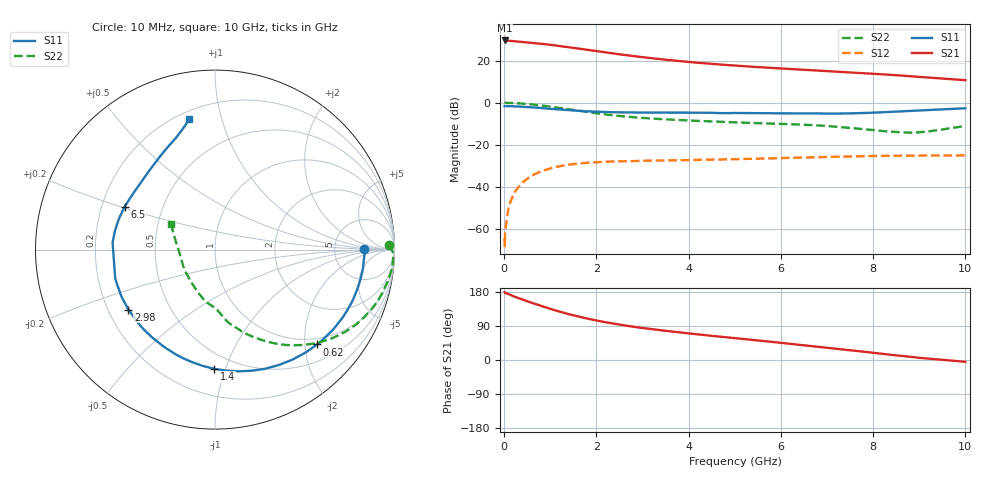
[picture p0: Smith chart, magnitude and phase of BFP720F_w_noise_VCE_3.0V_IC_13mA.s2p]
! Infineon Technologies  Discrete & RF Semiconductors
! BFP720F
! VCE =  3.0 V,  IC =  13 mA
! Common Emitter S-Parameters:  Jan 2016
# GHz  S  MA  R  50
!  f  S11  S21  S12  S22
! GHz  MAG  ANG  MAG  ANG  MAG  ANG  MAG  ANG
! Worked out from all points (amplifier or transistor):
!   233 points, 10 MHz to 10 GHz, reference 50 ohm
!   highest |S21| = 29.5 dB at 10 MHz (marker M1)
!   |S21| within 3 dB of that: start of sweep to 1.33 GHz
!   unconditionally stable (mu >= 1): start of sweep to 15.2 MHz; 6.384 GHz to end of sweep
!   at 200 MHz: K = 0.08, MSG = 36.5 dB, |S12| = -43.7 dB
!   at 1.74 GHz: K = 0.35, MSG = 26.9 dB, |S12| = -28.5 dB
!   at 10 GHz: K = 1.24, MAG = 14.9 dB, |S12| = -24.9 dB
!   lowest NFmin = 0.64 dB at 450 MHz
!   S11 on the Smith chart (normalised r, x): 10 MHz: 11, +0; 620 MHz: 0.85, -2.27; 1.4 GHz: 0.39, -0.92; 2.98 GHz: 0.28, -0.29; 6.5 GHz: 0.30, +0.21; 10 GHz: 0.25, +0.79
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0.01  0.8301 0.1  29.88 178.9  0.0006 -29.0  0.9712 1.4
0.02  0.8341 -1.3  29.58 176.8  0.0008 88.6  0.994 -1.1
0.05  0.8313 -3.6  29.7 176.4  0.0015 94.9  0.9938 -1.9
0.24  0.8211 -16.8  28.5 166.5  0.0079 80.9  0.9798 -10.0
0.44  0.8001 -30.7  27.22 157.5  0.014 73.3  0.9473 -18.1
0.62  0.7763 -42.9  26.15 149.9  0.0191 66.9  0.9083 -25.0
0.8  0.7496 -54.9  25.05 142.5  0.0236 61.0  0.8647 -31.4
1  0.7197 -67.4  23.57 134.8  0.0278 54.8  0.8096 -38.1
1.2  0.6903 -79.3  22.11 127.7  0.0313 49.4  0.754 -44.1
1.4  0.6642 -90.4  20.66 121.0  0.034 44.6  0.7002 -49.6
1.68  0.6334 -104.7  18.75 112.5  0.0369 38.8  0.6295 -56.5
1.94  0.6138 -115.8  17.07 105.7  0.0387 34.4  0.5741 -61.9
2.2  0.6025 -125.3  15.56 99.6  0.04 30.7  0.5282 -66.7
2.6  0.5918 -137.0  13.59 91.4  0.0411 26.4  0.4731 -72.5
2.98  0.5864 -145.3  12.07 84.8  0.042 23.8  0.4376 -76.7
3.4  0.583 -151.8  10.73 78.6  0.0427 21.7  0.4099 -79.9
4  0.5792 -159.2  9.249 70.1  0.0438 19.5  0.3789 -83.0
5.1  0.5704 174.7  7.464 56.5  0.0463 17.3  0.3398 -87.5
6.5  0.5574 154.5  6.053 38.8  0.0504 14.4  0.3019 -97.4
6.8  0.5531 149.3  5.793 35.0  0.0513 13.6  0.2894 -101.0
8.4  0.6093 119.0  4.574 13.6  0.0554 8.0  0.2059 -142.6
10  0.7395 101.3  3.419 -4.8  0.0566 3.7  0.2823 150.1
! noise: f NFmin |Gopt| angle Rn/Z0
0.45  0.64  0.27  2  0.64
0.9  0.67  0.23  8  0.14
1.8  0.7  0.21  11  0.15
2.4  0.72  0.18  18  0.13
5.5  0.88  0.15  30  0.08
10  1.04  0.3  -88  0.19
